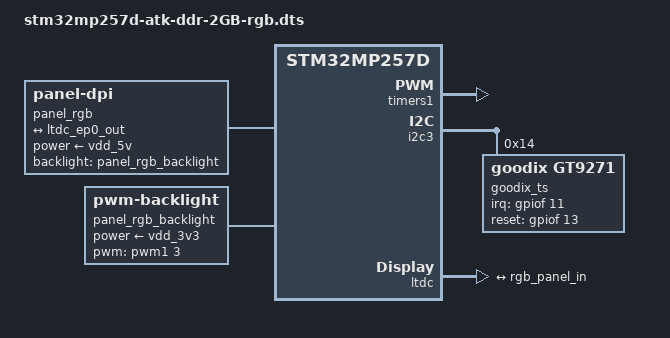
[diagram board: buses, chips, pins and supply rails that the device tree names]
#include "stm32mp257d-atk-ddr-2GB.dts"
/ {
/*
	rgb_lcd_id select id:
		atk_rgb_lcd_7_800x480 = 1,
		atk_rgb_lcd_7_1024x600 = 2,		
		atk_rgb_lcd_4.3_800x480 = 4,
		atk_rgb_lcd_10.1_1280x800 = 5,
*/
	rgb_lcd_id {
        rgb_select_id = <2>;    //default, atk_rgb_lcd_7_1024x600
    };

    panel_rgb: panel-rgb {
        compatible = "panel-dpi";
		pinctrl-names = "default", "sleep";
		pinctrl-0 = <&ltdc_pins_a>;
		pinctrl-1 = <&ltdc_sleep_pins_a>;
        backlight = <&panel_rgb_backlight>;
		power-supply = <&vdd_5v>;
        status = "okay";

        data-mapping = "rgb565";

        //atk_rgb_lcd_7_800x480
        panel-timing-1 {
            clock-frequency = <33300000>;
            hactive = <800>;
            vactive = <480>;
            hback-porch = <46>;
            hfront-porch = <210>;
            hsync-len = <1>;
            vback-porch = <23>;
            vfront-porch = <22>;
            vsync-len = <1>;
        };

        //atk_rgb_lcd_7_1024x600
        panel-timing-2 {
            clock-frequency = <51200000>;
            hactive = <1024>;
            vactive = <600>;
            hback-porch = <140>;
            hfront-porch = <160>;
            hsync-len = <20>;            
            vback-porch = <20>;
            vfront-porch = <12>;
            vsync-len = <3>;
        };

        //atk_rgb_lcd_4.3_800x480
        panel-timing-4 {
            clock-frequency = <31000000>;
            hactive = <800>;
            vactive = <480>;
            hback-porch = <88>;
            hfront-porch = <40>;
            hsync-len = <48>;        
            vback-porch = <32>;
            vfront-porch = <13>;
            vsync-len = <3>;
        };

        //atk_rgb_lcd_10.1_1280x800
        panel-timing-5 {
            clock-frequency = <71100000>;
            hactive = <1280>;
            vactive = <800>;
            hback-porch = <80>;
            hfront-porch = <70>;
            hsync-len = <10>;
            vback-porch = <10>;
            vfront-porch = <10>;
            vsync-len = <3>;
        };

		port {
			rgb_panel_in: endpoint {
				remote-endpoint = <&ltdc_ep0_out>;
			};
		};
	};

	panel_rgb_backlight: panel-rgb-backlight {
        compatible = "pwm-backlight";
        pwms = <&pwm1 3 5000000 0>;
		brightness-levels = <
                     0   1   2   3   4   5   6   7	 8   9
					10  11  12  13  14  15  16  17  18  19
					20  21  22  23  24  25  26  27  28  29
					30  31  32  33  34  35  36  37  38  39
                    40  41  42  43  44  45  46  47  48  49
					50  51  52  53  54  55  56  57  58  59
					60  61  62  63  64  65  66  67  68  69
					70  71  72  73  74  75  76  77  78  79
                    80  81  82  83  84  85  86  87  88  89
					90  91  92  93  94  95  96  97  98  99
					100 101 102 103 104 105 106 107 108 109
					110 111 112 113 114 115 116 117 118 119
                    120 121 122 123 124 125 126 127 128 129
					130 131 132 133 134 135 136 137 138 139
					140 141 142 143 144 145 146 147 148 149
					150 151 152 153 154 155 156 157 158 159
                    160 161 162 163 164 165 166 167 168 169
					170 171 172 173 174 175 176 177 178 179
					180 181 182 183 184 185 186 187 188 189
					190 191 192 193 194 195 196 197 198 199
                    200 201 202 203 204 205 206 207 208 209
					210 211 212 213 214 215 216 217 218 219
					220 221 222 223 224 225 226 227 228 229
					230 231 232 233 234 235 236 237 238 239
                    240 241 242 243 244 245 246 247 248 249
					250 251 252 253 254 255>;
        power-supply = <&vdd_3v3>;
        default-brightness-level = <255>;
        status = "okay";
	};
};

&timers1 {
    status = "okay";
    /* spare dmas for other usage */
    /delete-property/dmas;
    /delete-property/dma-names;

    pwm1: pwm {
        pinctrl-0 = <&pwm1_pins_a>;
        pinctrl-1 = <&pwm1_sleep_pins_a>;
        pinctrl-names = "default", "sleep";
        #pwm-cells = <2>;
        status = "okay";
    };
};

&i2c3 {
    //ft5426, cst340 touchscreen
    /*
    ft5426_ts@38 {
        compatible = "edt,edt-ft5206";
        reg = <0x38>;
        interrupt-parent = <&gpiof>;
        interrupts = <11 IRQ_TYPE_EDGE_RISING>;
        irq-gpios = <&gpiof 11 GPIO_ACTIVE_HIGH>;
        reset-gpios = <&gpiof 13 GPIO_ACTIVE_LOW>;
        status = "okay";
    };
    */

    //goodix touchscreen
    goodix_ts@14 {
		compatible = "goodix,gt9271", "goodix,gt911";
		reg = <0x14>;
		pinctrl-names = "default";
		interrupt-parent = <&gpiof>;
		interrupts = <11 IRQ_TYPE_EDGE_RISING>;
		irq-gpios = <&gpiof 11 GPIO_ACTIVE_HIGH>;
		reset-gpios = <&gpiof 13 GPIO_ACTIVE_HIGH>;
		status = "okay";
	};
};

&ltdc {
	rotation-memory = <&ltdc_sec_rotation>;
	status = "okay";

	port {
		#address-cells = <1>;
		#size-cells = <0>;

        ltdc_ep0_out: endpoint@0 {
            reg = <0>;
            remote-endpoint = <&rgb_panel_in>;
        };
	};
};
